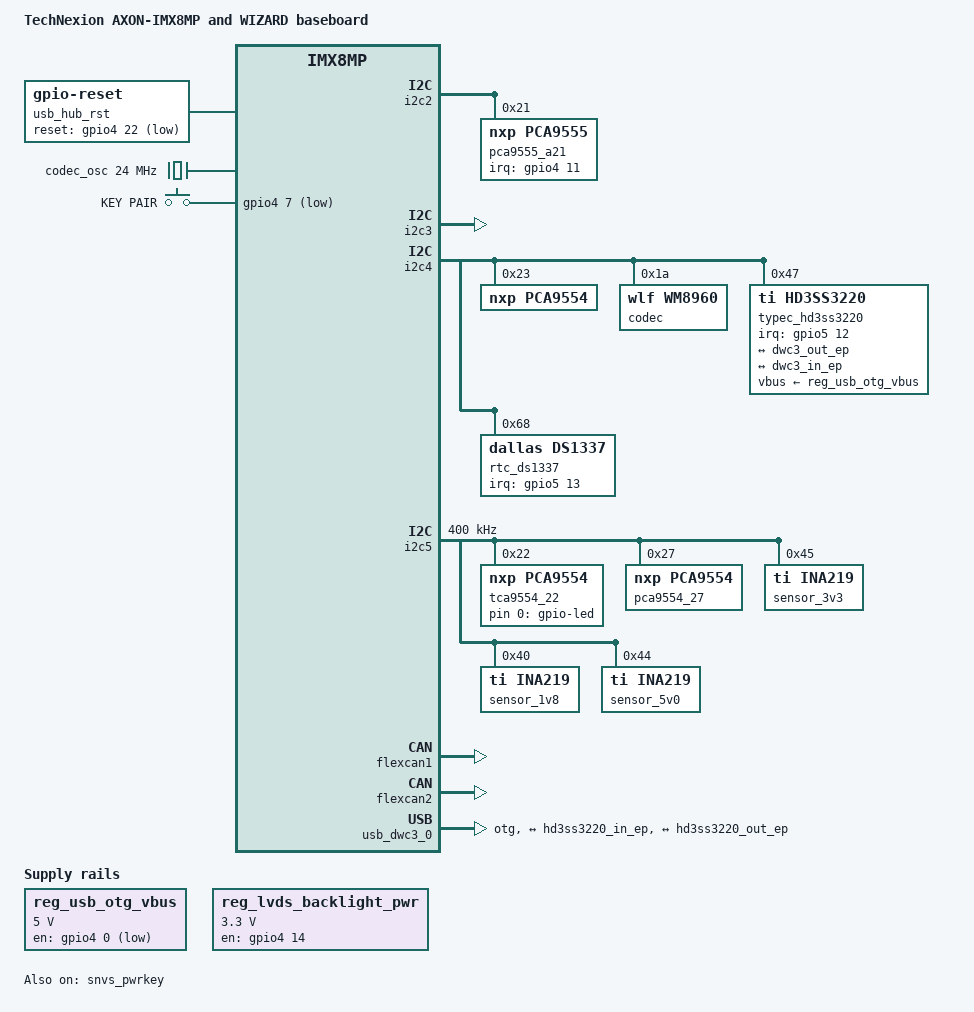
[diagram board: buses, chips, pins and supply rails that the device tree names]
// SPDX-License-Identifier: (GPL-2.0+ OR MIT)
/*
 * Copyright 2020 Technexion Ltd.
 *
 * Author: Richard Hu <richard.hu@technexion.com>
 *
 */

/dts-v1/;

#include "imx8mp-axon.dtsi"

/ {
	model = "TechNexion AXON-IMX8MP and WIZARD baseboard";
	compatible = "fsl,imx8mp-axon", "fsl,imx8mp";

	reg_usb_otg_vbus: usb_otg_vbus {
		pinctrl-names = "default";
		pinctrl-0 = <&pinctrl_otg_vbus>;
		compatible = "regulator-fixed";
		regulator-name = "usb_otg_vbus";
		regulator-min-microvolt = <5000000>;
		regulator-max-microvolt = <5000000>;
		gpio = <&gpio4 0 GPIO_ACTIVE_LOW>;
		enable-active-low;
	};

	reg_lvds_backlight_pwr: regulator_lvdsblpwr {
		pinctrl-names = "default";
		pinctrl-0 = <&pinctrl_lvds0_backlight_pwr>;
		compatible = "regulator-fixed";
		regulator-name = "lvds0_bl_en";
		regulator-min-microvolt = <3300000>;
		regulator-max-microvolt = <3300000>;
		gpio = <&gpio4 14 GPIO_ACTIVE_HIGH>;
		enable-active-high;
		regulator-always-on;
	};

	reg_mipi_pwr: regulator_mipipwr {	/* MIPI_5V control */
		pinctrl-names = "default";
		compatible = "regulator-fixed";
		regulator-name = "mipi_pwr";
		regulator-min-microvolt = <5000000>;
		regulator-max-microvolt = <5000000>;
		gpio = <&pca9554 0 GPIO_ACTIVE_HIGH>;
		enable-active-high;
		status = "disabled";
	};

	reg_lvds_pwr: regulator_lvdspwr {
		pinctrl-names = "default";
		compatible = "regulator-fixed";
		regulator-name = "lvds_pwr_en";
		regulator-min-microvolt = <3300000>;
		regulator-max-microvolt = <3300000>;
		gpio = <&pca9554 6 GPIO_ACTIVE_HIGH>;
		enable-active-high;
		status = "disabled";
	};

	reg_mipi_vdden: regulator_mipivdden {
		pinctrl-names = "default";
		compatible = "regulator-fixed";
		regulator-name = "mipi_vdden";
		regulator-min-microvolt = <5000000>;
		regulator-max-microvolt = <5000000>;
		gpio = <&pca9554 2 GPIO_ACTIVE_HIGH>;
		enable-active-high;
		status = "disabled";
	};

	reg_mipi_bl_en: regulator_mipiblen {
		pinctrl-names = "default";
		compatible = "regulator-fixed";
		regulator-name = "mipi_blen";
		regulator-min-microvolt = <3300000>;
		regulator-max-microvolt = <3300000>;
		gpio = <&pca9554 3 GPIO_ACTIVE_HIGH>;
		enable-active-high;
		status = "disabled";
	};

	lvds_backlight: lvds_backlight {
		compatible = "pwm-backlight";
		pwms = <&pwm2 0 50000>;
		brightness-levels = <0 36 72 108 144 180 216 255>;
		default-brightness-level = <6>;
		status = "disabled";
	};

	mipi_backlight: mipi_backlight {
		compatible = "pwm-backlight";
		pwms = <&pwm1 0 50000>;
		brightness-levels = <0 36 72 108 144 180 216 255>;
		default-brightness-level = <6>;
		status = "disabled";
	};

	usb_hub_rst: usb_hub_rst {
		compatible = "gpio-reset";
		pinctrl-names = "default";
		pinctrl-0 = <&pinctrl_usb_hub_ctrl>;
		reset-gpios = <&gpio4 22 GPIO_ACTIVE_LOW>;
		reset-delay-us = <10>;
		#reset-cells = <0>;
	};

	sound-wm8960 {
		compatible = "fsl,imx7d-evk-wm8960", "fsl,imx-audio-wm8960";
		model = "wm8960-audio";
		cpu-dai = <&sai3>;	/* AUD_A */
		audio-codec = <&codec>;
		asrc-controller = <&easrc>;
		codec-master;
		/* JD2: hp detect high for headphone*/
		hp-det = <2 0>;
		audio-routing =
			"Headphone Jack", "HP_L",
			"Headphone Jack", "HP_R",
			"Ext Spk", "SPK_LP",
			"Ext Spk", "SPK_LN",
			"Ext Spk", "SPK_RP",
			"Ext Spk", "SPK_RN",
			"LINPUT1", "Mic Jack",
			"Mic Jack", "MICB",
			"CPU-Playback", "ASRC-Playback",
			"Playback", "CPU-Playback",
			"ASRC-Capture", "CPU-Capture",
			"CPU-Capture", "Capture";
	};

	clocks {
		codec_osc: aud_mclk {
			compatible = "fixed-clock";
			#clock-cells = <0>;
			clock-frequency = <24000000>;
			clock-output-names = "wm8960-mclk";
		};
	};

	leds {
		compatible = "gpio-leds";
		pinctrl-names = "default";

		led {
			label = "gpio-led";
			gpios = <&tca9554_22 0 GPIO_ACTIVE_HIGH>;
		};
	};

	gpio_keys {
		compatible = "gpio-keys";
		pinctrl-names = "default";
		pinctrl-0 = <&pinctrl_gpio_key_user1>;

		pair {
			gpios = <&gpio4 7 GPIO_ACTIVE_LOW>;
			label = "KEY PAIR";
			linux,code = <KEY_SELECT>;
		};
	};
};

&snvs_pwrkey {
	linux,keycode = <KEY_SUSPEND>;
	status = "okay";
};

&i2c2 {	/* I2C_B on AXON */
	status = "okay";

	pca9555_a21: pca9555@21 {
		compatible = "nxp,pca9555";
		pinctrl-names = "default";
		pinctrl-0 = <&pinctrl_pca9555_a21_irq>;
		reg = <0x21>;
		gpio-controller;
		#gpio-cells = <2>;
		interrupt-controller;
		#interrupt-cells = <2>;
		interrupt-parent = <&gpio4>;
		interrupts = <11 IRQ_TYPE_LEVEL_LOW>;
		status = "okay";
		gpio-line-names = "EXPOSURE_TRIG_IN1", "FLASH_OUT1", "INFO_TRIG_IN1", "CAM_SHUTTER1", "XVS1", "PWR1_TIME0", "PWR1_TIME1", "PWR1_TIME2",
							"EXPOSURE_TRIG_IN2", "FLASH_OUT2", "INFO_TRIG_IN2", "CAM_SHUTTER2", "XVS2", "PWR2_TIME0", "PWR2_TIME1", "PWR2_TIME2";
	};

	vizionlink_0: vizionlink@30 {
		reg = <0x30>;
		status = "disabled";
	};

	ov5640_0: ov5640_mipi@3c {
		reg = <0x3c>;
		status = "disabled";
	};

	tevi_ap1302_0: tevi_ap1302@3d {
		reg = <0x3d>;
		status = "disabled";
	};
};

&i2c3 { /* I2C_D on AXON */
	status = "okay";
};

&i2c4 { /* I2C_A on AXON */
	status = "okay";

	pca9554: pca9554@23 {
		compatible = "nxp,pca9554";
		pinctrl-names = "default";
		reg =<0x23>;
		gpio-controller;
		#gpio-cells = <2>;
		status = "okay";
	};

	codec: wm8960@1a {
		compatible = "wlf,wm8960";
		reg = <0x1a>;
		//clocks = <&audiomix_clk IMX8MP_CLK_AUDIOMIX_SAI3_MCLK1>;
		clocks = <&codec_osc>;
		clock-names = "mclk";
		wlf,shared-lrclk;
		wlf,fixed-mclk;
	};

	typec_hd3ss3220: hd3ss3220@47 {
		compatible = "ti,hd3ss3220";
		interrupts-extended = <&gpio5 12 IRQ_TYPE_LEVEL_LOW>;
		pinctrl-names = "default";
		pinctrl-0 = <&pinctrl_hd3ss3220_irq>;
		vbus-supply = <&reg_usb_otg_vbus>;
		reg = <0x47>;

		ports {
			#address-cells = <1>;
			#size-cells = <0>;

			port@0 {
				reg = <0>;
				hd3ss3220_in_ep: endpoint {
					remote-endpoint = <&dwc3_out_ep>;
				};
			};

			port@1 {
				reg = <1>;
				hd3ss3220_out_ep: endpoint {
					remote-endpoint = <&dwc3_in_ep>;
				};
			};
		};
	};

	rtc_ds1337: ds1337@68 {
		compatible = "dallas,ds1337";
		pinctrl-names = "default";
		pinctrl-0 = <&pinctrl_rtc_ds1337_irq>;
		reg = <0x68>;
		wakeup-source;
		interrupt-parent = <&gpio5>;
		interrupts = <13 0>;
	};
};

&i2c5 { /* I2C_C on AXON */
	clock-frequency = <400000>;

	tca9554_22: tca9554_22@22 {
		compatible = "nxp,pca9554";
		pinctrl-names = "default";
		reg =<0x22>;
		gpio-controller;
		#gpio-cells = <2>;
		status = "okay";
	};

	pca9554_27: pca9554_27@27 {
		compatible = "nxp,pca9554";
		pinctrl-names = "default";
		reg =<0x27>;
		gpio-controller;
		#gpio-cells = <2>;
		status = "okay";
	};

	/* Power monitor for 3.3V SOM output supply */
	sensor_3v3:ina219_3v3@45 {
		compatible = "ti,ina219";
		reg = <0x45>;
		shunt-resistor = <200000>; /* .2 Ohm resistor = 200000 uOhms*/
	};

	/* Power monitor for 1.8V SOM output supply */
	sensor_1v8:ina219_1v8@40 {
		compatible = "ti,ina219";
		reg = <0x40>;
		shunt-resistor = <200000>; /* .2 Ohm resistor = 200000 uOhms*/
	};

	/* Power monitor for 5V SOM input supply */
	sensor_5v0:ina219_5v0@44 {
		compatible = "ti,ina219";
		reg = <0x44>;
		shunt-resistor = <200000>; /* .2 Ohm resistor = 200000 uOhms*/
	};

	vizionlink_1: vizionlink@30 {
		reg = <0x30>;
		status = "disabled";
	};

	ov5640_1: ov5640_mipi@3c {
		reg = <0x3c>;
		status = "disabled";
	};

	tevi_ap1302_1: tevi_ap1302@3d {
		reg = <0x3d>;
		status = "disabled";
	};

};

&flexcan1 {
	status = "okay";
};

&flexcan2 {
	status = "okay";
};

&usb_dwc3_0 {
	dr_mode = "otg";
	usb-role-switch;
	status = "okay";

	ports {
		#address-cells = <1>;
		#size-cells = <0>;

		port@0 {
			reg = <0>;
			dwc3_out_ep: endpoint {
				remote-endpoint = <&hd3ss3220_in_ep>;
			};
		};

		port@1 {
			reg = <1>;
			dwc3_in_ep: endpoint {
				remote-endpoint = <&hd3ss3220_out_ep>;
			};
		};
	};
};

&iomuxc {

	pinctrl_otg_vbus: otgvbusgrp {
		fsl,pins = <
			MX8MP_IOMUXC_SAI1_RXFS__GPIO4_IO00		0x19   /* GPIO_X1_P66, USB OTG VBUS Enable */
		>;
	};

	pinctrl_usb_hub_ctrl: usbhubctrlgrp {
		fsl,pins = <
			MX8MP_IOMUXC_SAI2_RXC__GPIO4_IO22		0x41 /* USB_HUB_RESET */
		>;
	};

	pinctrl_hd3ss3220_irq: hd3ss3220_irqgrp {
		fsl,pins = <
			MX8MP_IOMUXC_ECSPI2_MISO__GPIO5_IO12	0x41    /* UART_B_CTS */
		>;
	};

	pinctrl_lvds0_backlight_pwr: lvds0_bl_pwrgrp {
		fsl,pins = <
			MX8MP_IOMUXC_SAI1_TXD2__GPIO4_IO14		0x19	/* GPIO_X4_P7, LVDS_BL_EN */
		>;
	};

	pinctrl_ft5336_touch_irq: ft5336_irqgrp {
		fsl,pins = <
			MX8MP_IOMUXC_SAI1_TXD3__GPIO4_IO15		0x41   /* GPIO_X2_P20, Touch INT */
		>;
	};

	pinctrl_tfa98xx: tfa98xx_ctrlgrp {
		fsl,pins = <
			MX8MP_IOMUXC_SAI1_TXFS__GPIO4_IO10	0x19 /* GPIO_X1_P80, INT */
			MX8MP_IOMUXC_SAI2_TXFS__GPIO4_IO24	0x19 /* AUD_B_TXFS, RST */
		>;
	};

	pinctrl_pca9955: pca9955_ctrlgrp {
		fsl,pins = <
			MX8MP_IOMUXC_SAI1_TXD0__GPIO4_IO12		0x16 /* GPIO_X1_P78, RST */
		>;
	};

	pinctrl_pca9555_a21_irq: pca9555_a21_irqgrp {
		fsl,pins = <
			MX8MP_IOMUXC_SAI1_TXC__GPIO4_IO11		0x140 /* GPIO_X1_P70 */
		>;
	};

	pinctrl_rtc_ds1337_irq: pinctrl_rtc_ds1337_irqgrp {
		fsl,pins = <
			MX8MP_IOMUXC_ECSPI2_SS0__GPIO5_IO13		0x19 /* UART_B_RTS, INT */
		>;
	};

	pinctrl_gpio_key_user1: gpiokey_user1grp {
		fsl,pins = <
			MX8MP_IOMUXC_SAI1_RXD5__GPIO4_IO07		0x41 /* GPIO_X1_P72 */
		>;
	};

	pinctrl_touch_irq: touch_irqgrp {
		fsl,pins = <
			MX8MP_IOMUXC_SAI1_TXD1__GPIO4_IO13	0x41   /* Touch INT */
		>;
	};

	pinctrl_gpio_key_voicehat: gpiokey_voicehatgrp {
		fsl,pins = <
			MX8MP_IOMUXC_SD1_DATA5__GPIO2_IO07		0x41 /* KEY_PAIR on VoiceHat */
			MX8MP_IOMUXC_SAI5_RXFS__GPIO3_IO19		0x41 /* KEY_PLAY on VoiceHat */
			MX8MP_IOMUXC_SAI5_MCLK__GPIO3_IO25		0x41 /* KEY_NEXT on VoiceHat */
			MX8MP_IOMUXC_SAI5_RXD3__GPIO3_IO24		0x41 /* KEY_UP on VoiceHat */
			MX8MP_IOMUXC_SPDIF_TX__GPIO5_IO03		0x41 /* KEY_DOWN on VoiceHat */
			MX8MP_IOMUXC_SPDIF_RX__GPIO5_IO04		0x41 /* KEY_MUTE on VoiceHat */
			MX8MP_IOMUXC_ECSPI2_SS0__GPIO5_IO13		0x41 /* KEY_PAIR on VoiceHat */
			MX8MP_IOMUXC_GPIO1_IO09__GPIO1_IO09		0x41 /* KEY_ACT on VoiceHat */
		>;
	};
};
